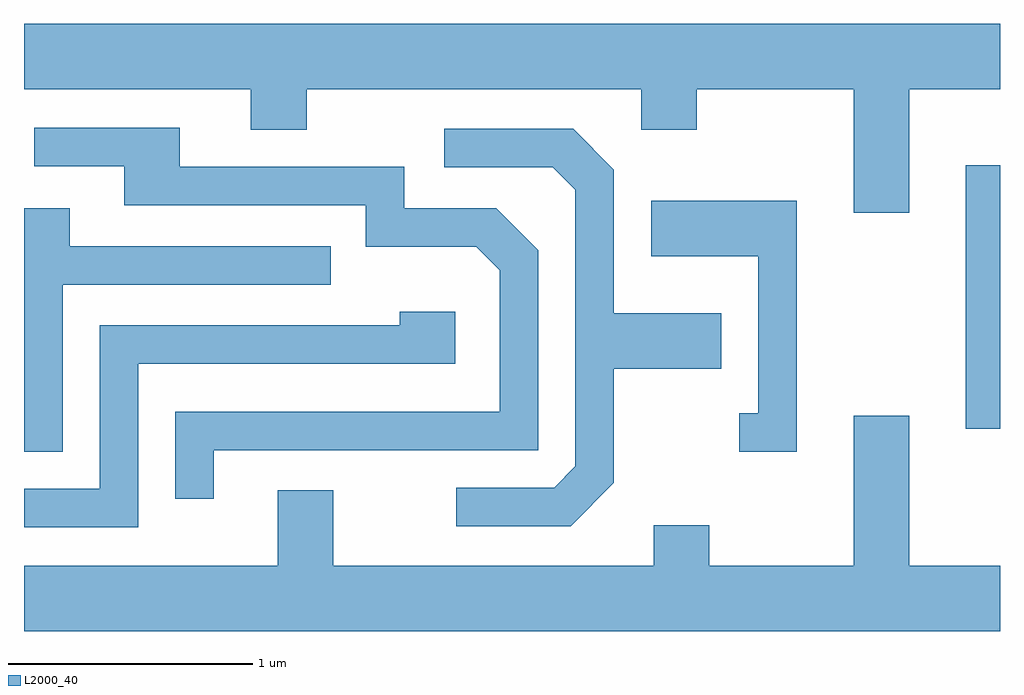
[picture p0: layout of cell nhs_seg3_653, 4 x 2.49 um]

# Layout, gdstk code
import gdstk
lib = gdstk.Library(unit=1e-6, precision=1e-09)
def R(c, l, rs):  # rectangles x0, y0, x1, y1
    for r in rs: c.add(gdstk.rectangle(r[:2], r[2:], *l))
def P(c, l, *ps):  # polygons
    for p in ps: c.add(gdstk.Polygon(p, *l))
L2000_40 = (2000, 40)

nhs_seg3_653 = lib.new_cell('nhs_seg3_653')
R(nhs_seg3_653, L2000_40, [(207.471,1200.106,207.611,1201.184)])
P(nhs_seg3_653, L2000_40, [(207.239,1201.496),(207.611,1201.496),(207.611,1201.764),(203.611,1201.764),(203.611,1201.496),(204.541,1201.496),(204.541,1201.331),(204.769,1201.331),(204.769,1201.496),(206.141,1201.496),(206.141,1201.331),(206.369,1201.331),(206.369,1201.496),(207.011,1201.496),(207.011,1200.991),(207.239,1200.991)],
  [(204.389,1200.016),(205.719,1200.016),(205.719,1200.837),(205.547,1201.009),(205.169,1201.009),(205.169,1201.179),(204.249,1201.179),(204.249,1201.339),(203.653,1201.339),(203.653,1201.181),(204.021,1201.181),(204.021,1201.021),(205.011,1201.021),(205.011,1200.851),(205.464,1200.851),(205.561,1200.754),(205.561,1200.174),(204.231,1200.174),(204.231,1199.818),(204.389,1199.818)],
  [(206.029,1199.884),(206.029,1200.351),(206.469,1200.351),(206.469,1200.579),(206.029,1200.579),(206.029,1201.167),(205.862,1201.334),(205.333,1201.334),(205.333,1201.176),(205.779,1201.176),(205.871,1201.084),(205.871,1199.952),(205.784,1199.864),(205.383,1199.864),(205.383,1199.706),(205.852,1199.706)],
  [(206.779,1201.039),(206.181,1201.039),(206.181,1200.811),(206.621,1200.811),(206.621,1200.169),(206.543,1200.169),(206.543,1200.011),(206.779,1200.011)],
  [(203.769,1200.696),(204.868,1200.696),(204.868,1200.854),(203.799,1200.854),(203.799,1201.009),(203.611,1201.009),(203.611,1200.011),(203.769,1200.011)],
  [(204.079,1200.371),(205.379,1200.371),(205.379,1200.584),(205.151,1200.584),(205.151,1200.529),(203.921,1200.529),(203.921,1199.859),(203.611,1199.859),(203.611,1199.701),(204.079,1199.701)],
  [(207.611,1199.544),(207.239,1199.544),(207.239,1200.159),(207.011,1200.159),(207.011,1199.544),(206.419,1199.544),(206.419,1199.709),(206.191,1199.709),(206.191,1199.544),(204.879,1199.544),(204.879,1199.854),(204.651,1199.854),(204.651,1199.544),(203.611,1199.544),(203.611,1199.276),(207.611,1199.276)])

lib.write_gds('nhs_seg3_653.gds')
